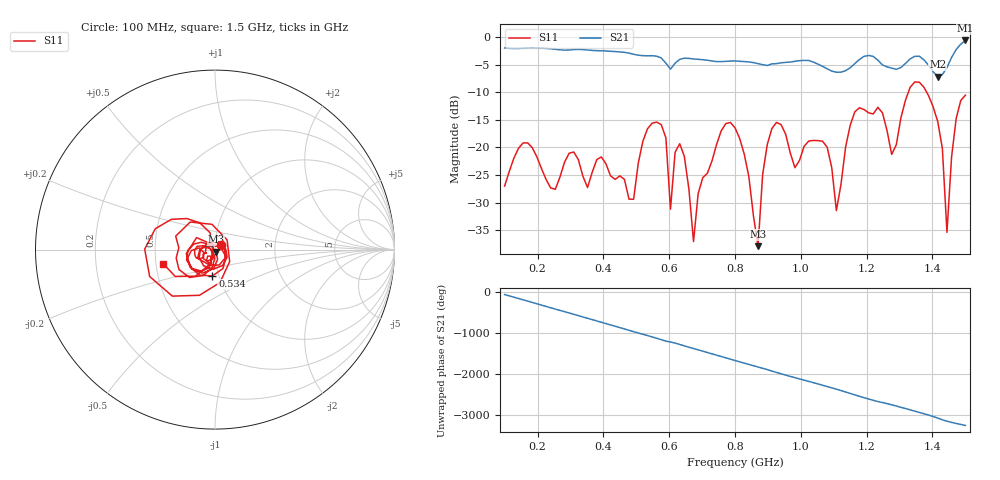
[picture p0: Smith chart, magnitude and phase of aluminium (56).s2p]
! NanoVNA-App
! Date: 2025-09-26 09:58:30
! Start: 100MHz Stop: 1,5GHz Points: 101
! S-Parameter data: F S11 S21 S12 S22
# Hz S RI R 50
!  Frequency  S11_Real  S11_Imag  S21_Real  S21_Imag  S12_Real  S12_Imag  S22_Real  S22_Imag
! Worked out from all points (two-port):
!   101 points, 100 MHz to 1.5 GHz, reference 50 ohm
!   highest |S21| = -0.56 dB at 1.5 GHz (marker M1); lowest = -7.1 dB at 1.416 GHz (marker M2)
!   |S21| within 3 dB of the highest: start of sweep to 568.4 MHz; 1.189 GHz to 1.222 GHz (32.87 MHz wide, 2.73 % of centre)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
!   lowest |S11| = -37.9 dB at 870 MHz (marker M3), VSWR 1.03, Z = 50.5 - j1.16 ohm
!   |S11| at or under -10 dB: start of sweep to 1.326 GHz; 1.383 GHz to end of sweep
!   S12 and S22 are empty: the file has one direction only
!   S11 on the Smith chart (normalised r, x): 100 MHz: 1.07, +0.06; 534 MHz: 0.93, -0.28; 1.5 GHz: 0.55, -0.09
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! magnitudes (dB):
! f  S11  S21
! 100 MHz  -27.0  -1.9
! 156 MHz  -19.2  -2.0
! 338 MHz  -25.2  -2.2
! 492 MHz  -29.4  -3.1
! 534 MHz  -16.6  -3.3
! 576 MHz  -15.9  -3.7
! 604 MHz  -31.2  -5.8
! 618 MHz  -20.9  -4.7
! 646 MHz  -21.6  -3.8
! 674 MHz  -37.1  -3.9
! 800 MHz  -16.4  -4.3
! 870 MHz  -37.9  -4.8
! 912 MHz  -16.6  -4.8
! 1.038 GHz  -18.7  -4.5
! 1.108 GHz  -31.5  -6.3
! 1.164 GHz  -13.5  -4.8
! 1.276 GHz  -21.3  -5.6
! 1.346 GHz  -8.1  -3.4
! 1.416 GHz  -15.3  -7.1
! 1.444 GHz  -35.4  -5.5
! 1.472 GHz  -14.7  -2.2
! 1.5 GHz  -10.5  -0.6
